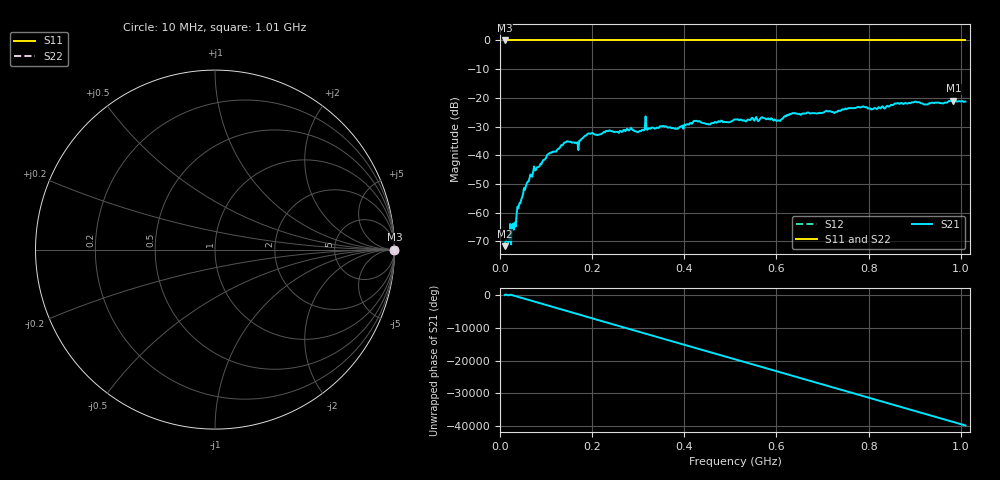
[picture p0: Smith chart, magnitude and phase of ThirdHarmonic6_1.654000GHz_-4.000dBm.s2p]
! 8/16/2025 7:48:15 PM
! C:\ANRITSUVNA\TEMP\TEMP.S2P
! CHANNEL.1
! TR.MEASUREMENT
! RAW.DATA
! RF.CORRECTION.OFF
! AVERAGING.OFF
! IF.BANDWIDTH: 5KHZ
! SWEEPTYPE:  FREQ.SWEEP(Linear)
! Reference Plane Port Info
! PORT:  PORT1  PORT2
! DISTANCE:  0  m  0  m
! TIME:  0  s  0  s
! PHASE.OFFSET:  0  deg.  0  deg.
! LOSS:  0  dB  0  dB
! REF.LOSS:  0  dB  0  dB
! REF.FREQ:  0  Hz  0  Hz
! Power Info
! POWER:  -20  dBm  -20  dBm
! EFF.POWER:  -20  dBm  -20  dBm
! SOURCE.ATTEN:  0  dB  0  dB
! TEST.ATTEN:  0  dB  0  dB
# GHZ S RI R 50.0
! FREQ.GHZ  S11RE  S11IM  S21RE  S21IM  S12RE  S12IM  S22RE  S22IM
!; PortSelection: Port_12
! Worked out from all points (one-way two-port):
!   501 points, 10 MHz to 1.01 GHz, reference 50 ohm
!   highest |S21| = -20.96 dB at 984 MHz (marker M1); lowest = -71.7 dB at 10 MHz (marker M2)
!   lowest |S11| = 0.0 dB at 10 MHz (marker M3)
!   |S11| at or under -10 dB: nowhere
!   |S22| runs from 0.0 to 0.0 dB; largest |S21 - S12| = 1.1
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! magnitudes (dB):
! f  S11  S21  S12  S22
! 10 MHz  0.0  -71.7  0.0  0.0
! 20 MHz  0.0  -70.1  0.0  0.0
! 56 MHz  0.0  -50.8  0.0  0.0
! 76 MHz  0.0  -45.3  0.0  0.0
! 106 MHz  0.0  -39.4  0.0  0.0
! 142 MHz  0.0  -35.5  0.0  0.0
! 166 MHz  0.0  -35.7  0.0  0.0
! 178 MHz  0.0  -34.2  0.0  0.0
! 234 MHz  0.0  -31.6  0.0  0.0
! 298 MHz  0.0  -32.0  0.0  0.0
! 320 MHz  0.0  -31.1  0.0  0.0
! 344 MHz  0.0  -30.5  0.0  0.0
! 382 MHz  0.0  -30.7  0.0  0.0
! 424 MHz  0.0  -28.1  0.0  0.0
! 452 MHz  0.0  -29.1  0.0  0.0
! 510 MHz  0.0  -27.6  0.0  0.0
! 604 MHz  0.0  -27.9  0.0  0.0
! 634 MHz  0.0  -25.4  0.0  0.0
! 678 MHz  0.0  -25.3  0.0  0.0
! 844 MHz  0.0  -23.1  0.0  0.0
! 984 MHz  0.0  -21.0  0.0  0.0
! 1.01 GHz  0.0  -21.3  0.0  0.0
